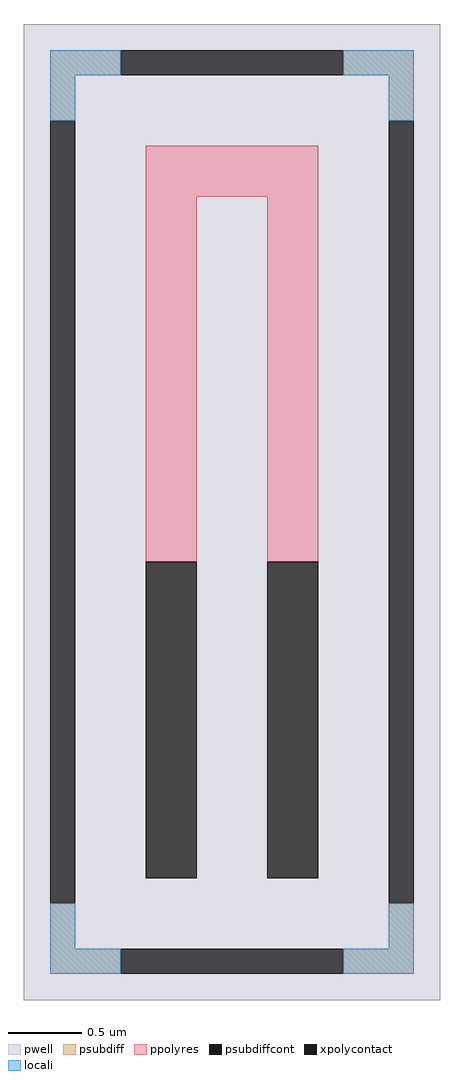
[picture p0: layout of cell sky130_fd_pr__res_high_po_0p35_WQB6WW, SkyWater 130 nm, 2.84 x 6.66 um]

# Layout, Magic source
magic
tech sky130A
<< pwell >>
rect -142 -333 142 333
<< psubdiff >>
rect -124 298 -76 315
rect 76 298 124 315
rect -124 267 -107 298
rect 107 267 124 298
rect -124 -298 -107 -267
rect 107 -298 124 -267
rect -124 -315 -76 -298
rect 76 -315 124 -298
<< psubdiffcont >>
rect -76 298 76 315
rect -124 -267 -107 267
rect 107 -267 124 267
rect -76 -315 76 -298
<< xpolycontact >>
rect -59 -250 -24 -34
rect 24 -250 59 -34
<< ppolyres >>
rect -59 215 59 250
rect -59 -34 -24 215
rect 24 -34 59 215
<< locali >>
rect -124 298 -76 315
rect 76 298 124 315
rect -124 267 -107 298
rect 107 267 124 298
rect -124 -298 -107 -267
rect 107 -298 124 -267
rect -124 -315 -76 -298
rect 76 -315 124 -298
<< properties >>
string FIXED_BBOX -115 -306 115 306
string gencell sky130_fd_pr__res_high_po_0p35
string library sky130
string parameters w 0.35 l 5 m 1 nx 2 wmin 0.350 lmin 0.50 rho 319.8 val 10.57k dummy 0 dw 0.0 term 194.82 sterm 0.0 caplen 0 guard 1 glc 1 grc 1 gtc 1 gbc 1 compatible {sky130_fd_pr__res_high_po_0p35  sky130_fd_pr__res_high_po_0p69 sky130_fd_pr__res_high_po_1p41  sky130_fd_pr__res_high_po_2p85 sky130_fd_pr__res_high_po_5p73} snake 1 full_metal 1 wmax 0.350 vias 1 n_guard 0 hv_guard 0 viagb 0 viagt 0 viagl 0 viagr 0
<< end >>
